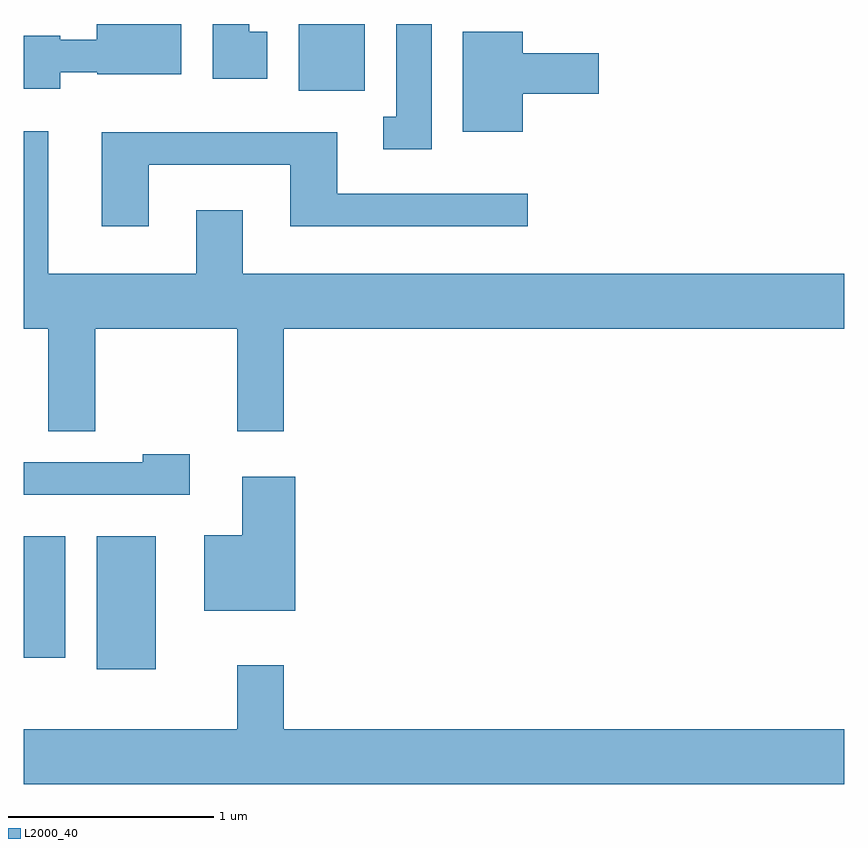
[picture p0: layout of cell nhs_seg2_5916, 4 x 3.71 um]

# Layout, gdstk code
import gdstk
lib = gdstk.Library(unit=1e-6, precision=1e-09)
def R(c, l, rs):  # rectangles x0, y0, x1, y1
    for r in rs: c.add(gdstk.rectangle(r[:2], r[2:], *l))
def P(c, l, *ps):  # polygons
    for p in ps: c.add(gdstk.Polygon(p, *l))
L2000_40 = (2000, 40)

nhs_seg2_5916 = lib.new_cell('nhs_seg2_5916')
R(nhs_seg2_5916, L2000_40, [(359.966,1046.656,360.254,1047.304), (359.611,1046.711,359.814,1047.304), (360.951,1049.476,361.274,1049.802)])
P(nhs_seg2_5916, L2000_40, [(361.599,1049.802),(361.426,1049.802),(361.426,1049.349),(361.363,1049.349),(361.363,1049.191),(361.599,1049.191)],
  [(360.799,1049.764),(360.709,1049.764),(360.709,1049.802),(360.531,1049.802),(360.531,1049.536),(360.799,1049.536)],
  [(359.789,1049.566),(359.97,1049.566),(359.97,1049.556),(360.379,1049.556),(360.379,1049.802),(359.966,1049.802),(359.966,1049.724),(359.789,1049.724),(359.789,1049.744),(359.611,1049.744),(359.611,1049.486),(359.789,1049.486)],
  [(362.044,1049.461),(362.414,1049.461),(362.414,1049.659),(362.044,1049.659),(362.044,1049.764),(361.751,1049.764),(361.751,1049.276),(362.044,1049.276)],
  [(360.651,1047.816),(360.879,1047.816),(360.879,1048.316),(363.611,1048.316),(363.611,1048.584),(360.679,1048.584),(360.679,1048.894),(360.451,1048.894),(360.451,1048.584),(359.729,1048.584),(359.729,1049.279),(359.611,1049.279),(359.611,1048.316),(359.731,1048.316),(359.731,1047.816),(359.959,1047.816),(359.959,1048.316),(360.651,1048.316)],
  [(360.219,1049.116),(360.911,1049.116),(360.911,1048.816),(362.068,1048.816),(362.068,1048.974),(361.139,1048.974),(361.139,1049.274),(359.991,1049.274),(359.991,1048.816),(360.219,1048.816)],
  [(360.419,1047.704),(360.191,1047.704),(360.191,1047.664),(359.611,1047.664),(359.611,1047.506),(360.419,1047.506)],
  [(360.934,1047.594),(360.676,1047.594),(360.676,1047.309),(360.491,1047.309),(360.491,1046.941),(360.934,1046.941)],
  [(363.611,1046.364),(360.879,1046.364),(360.879,1046.674),(360.651,1046.674),(360.651,1046.364),(359.611,1046.364),(359.611,1046.096),(363.611,1046.096)])

lib.write_gds('nhs_seg2_5916.gds')
